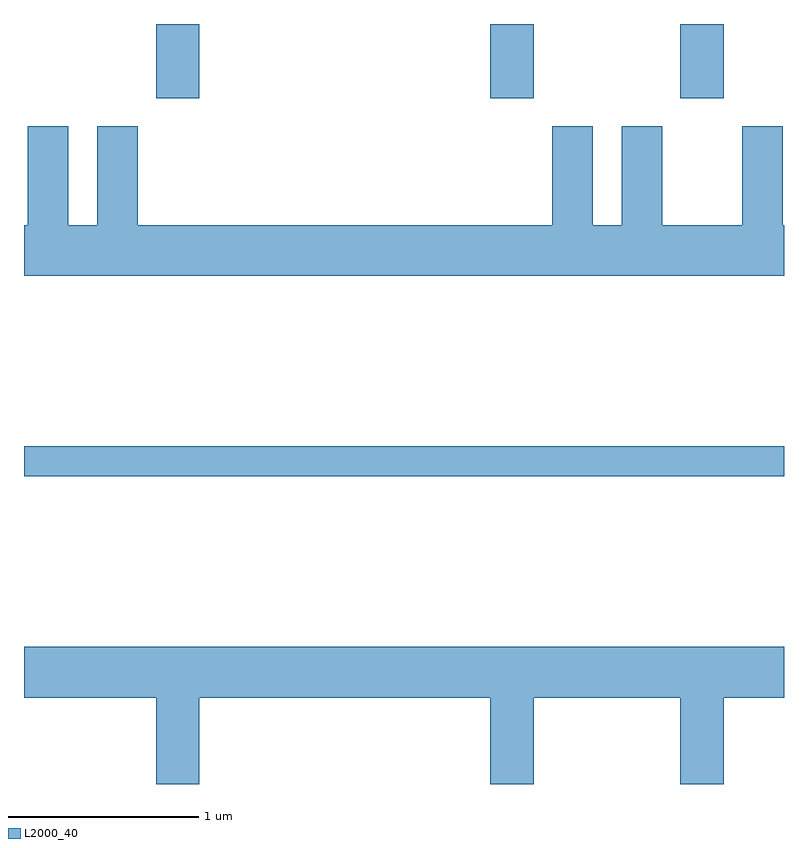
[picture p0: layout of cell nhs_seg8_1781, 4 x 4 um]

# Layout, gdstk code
import gdstk
lib = gdstk.Library(unit=1e-6, precision=1e-09)
def R(c, l, rs):  # rectangles x0, y0, x1, y1
    for r in rs: c.add(gdstk.rectangle(r[:2], r[2:], *l))
def P(c, l, *ps):  # polygons
    for p in ps: c.add(gdstk.Polygon(p, *l))
L2000_40 = (2000, 40)

nhs_seg8_1781 = lib.new_cell('nhs_seg8_1781')
R(nhs_seg8_1781, L2000_40, [(237.611,1901.961,241.611,1902.119), (238.306,1903.951,238.534,1904.342), (240.066,1903.951,240.294,1904.342), (241.066,1903.951,241.294,1904.342)])
P(nhs_seg8_1781, L2000_40, [(241.611,1903.284),(241.604,1903.284),(241.604,1903.804),(241.391,1903.804),(241.391,1903.284),(240.969,1903.284),(240.969,1903.804),(240.756,1903.804),(240.756,1903.284),(240.604,1903.284),(240.604,1903.804),(240.391,1903.804),(240.391,1903.284),(238.209,1903.284),(238.209,1903.804),(237.996,1903.804),(237.996,1903.284),(237.844,1903.284),(237.844,1903.804),(237.631,1903.804),(237.631,1903.284),(237.611,1903.284),(237.611,1903.016),(241.611,1903.016)],
  [(238.534,1900.796),(240.066,1900.796),(240.066,1900.342),(240.294,1900.342),(240.294,1900.796),(241.066,1900.796),(241.066,1900.342),(241.294,1900.342),(241.294,1900.796),(241.611,1900.796),(241.611,1901.064),(237.611,1901.064),(237.611,1900.796),(238.306,1900.796),(238.306,1900.342),(238.534,1900.342)])

lib.write_gds('nhs_seg8_1781.gds')
